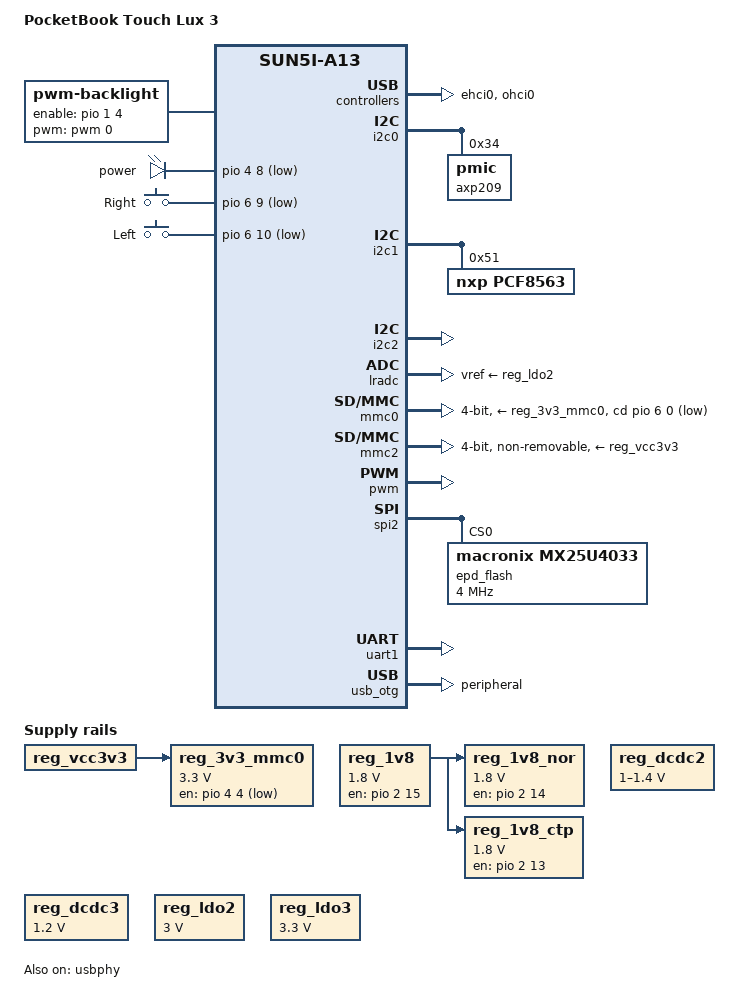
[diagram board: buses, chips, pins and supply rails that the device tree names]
// SPDX-License-Identifier: GPL-2.0 OR MIT
/*
 * Copyright 2019 Ondrej Jirman <megous@megous.com>
 */

/dts-v1/;
#include "sun5i-a13.dtsi"
#include "sunxi-common-regulators.dtsi"
#include <dt-bindings/gpio/gpio.h>
#include <dt-bindings/input/input.h>
#include <dt-bindings/interrupt-controller/irq.h>
#include <dt-bindings/pwm/pwm.h>

/ {
	model = "PocketBook Touch Lux 3";
	compatible = "pocketbook,touch-lux-3", "allwinner,sun5i-a13";

	aliases {
		serial0 = &uart1;
		i2c0 = &i2c0;
		i2c1 = &i2c1;
		i2c2 = &i2c2;
	};

	backlight {
		compatible = "pwm-backlight";
		pwms = <&pwm 0 50000 PWM_POLARITY_INVERTED>;
		enable-gpios = <&pio 1 4 GPIO_ACTIVE_HIGH>; /* PB4 */
		brightness-levels = <0 10 20 30 40 50 60 70 80 90 100>;
		default-brightness-level = <8>;
	};

	chosen {
		stdout-path = "serial0:115200n8";
	};

	leds {
		compatible = "gpio-leds";

		power {
			gpios = <&pio 4 8 GPIO_ACTIVE_LOW>; /* PE8 */
			default-state = "on";
		};
	};

	gpio-keys {
		compatible = "gpio-keys";
		autorepeat;
		label = "GPIO Keys";

		key-right {
			label = "Right";
			linux,code = <KEY_RIGHT>;
			gpios = <&pio 6 9 (GPIO_ACTIVE_LOW | GPIO_PULL_UP)>; /* PG9 */
		};

		key-left {
			label = "Left";
			linux,code = <KEY_LEFT>;
			gpios = <&pio 6 10 (GPIO_ACTIVE_LOW | GPIO_PULL_UP)>; /* PG10 */
		};
	};

	reg_1v8: regulator-1v8 {
		compatible = "regulator-fixed";
		regulator-name = "vdd-1v8-nor-ctp";
		regulator-min-microvolt = <1800000>;
		regulator-max-microvolt = <1800000>;
		gpio = <&pio 2 15 GPIO_ACTIVE_HIGH>;
		enable-active-high;
	};

	reg_1v8_nor: regulator-nor {
		compatible = "regulator-fixed";
		regulator-name = "vdd-nor";
		regulator-min-microvolt = <1800000>;
		regulator-max-microvolt = <1800000>;
		gpio = <&pio 2 14 GPIO_ACTIVE_HIGH>;
		enable-active-high;
		vin-supply = <&reg_1v8>;
		regulator-always-on;
	};

	reg_1v8_ctp: regulator-ctp {
		compatible = "regulator-fixed";
		regulator-name = "vdd-ctp";
		regulator-min-microvolt = <1800000>;
		regulator-max-microvolt = <1800000>;
		gpio = <&pio 2 13 GPIO_ACTIVE_HIGH>;
		enable-active-high;
		vin-supply = <&reg_1v8>;
	};

	reg_3v3_mmc0: regulator-mmc0 {
		compatible = "regulator-fixed";
		regulator-name = "vdd-mmc0";
		regulator-min-microvolt = <3300000>;
		regulator-max-microvolt = <3300000>;
		gpio = <&pio 4 4 GPIO_ACTIVE_LOW>; /* PE4 */
		vin-supply = <&reg_vcc3v3>;
	};
};

&cpu0 {
	cpu-supply = <&reg_dcdc2>;
};

&ehci0 {
	status = "okay";
};

&i2c0 {
	status = "okay";

	axp209: pmic@34 {
		reg = <0x34>;
		interrupts = <0>;
	};
};

#include "axp209.dtsi"

&i2c1 {
	status = "okay";

	pcf8563: rtc@51 {
		compatible = "nxp,pcf8563";
		reg = <0x51>;
	};
};

&i2c2 {
	status = "okay";

	/* Touchpanel is connected here. */
};

&lradc {
	vref-supply = <&reg_ldo2>;
	status = "okay";

	button-200 {
		label = "Home";
		linux,code = <KEY_HOME>;
		channel = <0>;
		voltage = <200000>;
	};

	button-400 {
		label = "Menu";
		linux,code = <KEY_MENU>;
		channel = <0>;
		voltage = <400000>;
	};
};

&mmc0 {
	vmmc-supply = <&reg_3v3_mmc0>;
	bus-width = <4>;
	cd-gpios = <&pio 6 0 GPIO_ACTIVE_LOW>; /* PG0 */
	status = "okay";
};

&mmc2 {
	pinctrl-names = "default";
	pinctrl-0 = <&mmc2_4bit_pc_pins>;
	vmmc-supply = <&reg_vcc3v3>;
	bus-width = <4>;
	non-removable;
	status = "okay";
};

&ohci0 {
	status = "okay";
};

&otg_sram {
	status = "okay";
};

&pwm {
	pinctrl-names = "default";
	pinctrl-0 = <&pwm0_pin>;
	status = "okay";
};

&reg_dcdc2 {
	regulator-always-on;
	regulator-min-microvolt = <1000000>;
	regulator-max-microvolt = <1400000>;
	regulator-name = "vdd-cpu";
};

&reg_dcdc3 {
	regulator-always-on;
	regulator-min-microvolt = <1200000>;
	regulator-max-microvolt = <1200000>;
	regulator-name = "vdd-int-pll";
};

&reg_ldo1 {
	regulator-name = "vdd-rtc";
};

&reg_ldo2 {
	regulator-always-on;
	regulator-min-microvolt = <3000000>;
	regulator-max-microvolt = <3000000>;
	regulator-name = "avcc";
};

&reg_ldo3 {
	regulator-min-microvolt = <3300000>;
	regulator-max-microvolt = <3300000>;
	regulator-name = "vcc-wifi";
	/* We need this otherwise the LDO3 would overload */
	regulator-soft-start;
	regulator-ramp-delay = <1600>;
};

&spi2 {
	pinctrl-names = "default";
	pinctrl-0 = <&spi2_pe_pins>, <&spi2_cs0_pe_pin>;
	status = "okay";

	epd_flash: flash@0 {
		#address-cells = <1>;
		#size-cells = <1>;
		compatible = "macronix,mx25u4033", "jedec,spi-nor";
		reg = <0>;
		spi-max-frequency = <4000000>;
	};
};

&uart1 {
	pinctrl-names = "default";
	pinctrl-0 = <&uart1_pg_pins>;
	status = "okay";
};

&usb_otg {
	dr_mode = "peripheral";
	status = "okay";
};

&battery_power_supply {
	status = "okay";
};

&usb_power_supply {
	status = "okay";
};

&usbphy {
	usb1_vbus-supply = <&reg_ldo3>;
	status = "okay";
};
